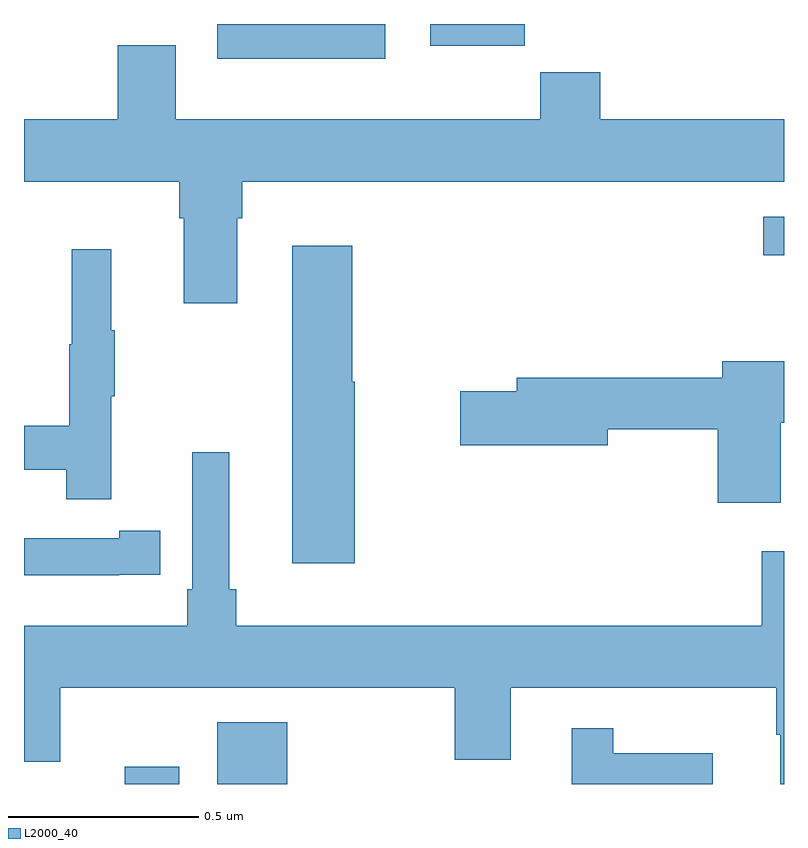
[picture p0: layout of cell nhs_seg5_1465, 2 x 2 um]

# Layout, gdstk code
import gdstk
lib = gdstk.Library(unit=1e-6, precision=1e-09)
def R(c, l, rs):  # rectangles x0, y0, x1, y1
    for r in rs: c.add(gdstk.rectangle(r[:2], r[2:], *l))
def P(c, l, *ps):  # polygons
    for p in ps: c.add(gdstk.Polygon(p, *l))
L2000_40 = (2000, 40)

nhs_seg5_1465 = lib.new_cell('nhs_seg5_1465')
R(nhs_seg5_1465, L2000_40, [(130.265,897.799,130.408,897.844), (130.508,897.799,130.693,897.961), (131.946,899.191,132,899.292), (130.508,899.708,130.951,899.799), (131.069,899.742,131.318,899.799)])
P(nhs_seg5_1465, L2000_40, [(130.561,899.288),(130.574,899.288),(130.574,899.384),(132,899.384),(132,899.548),(131.516,899.548),(131.516,899.672),(131.359,899.672),(131.359,899.548),(130.399,899.548),(130.399,899.743),(130.247,899.743),(130.247,899.548),(130,899.548),(130,899.384),(130.409,899.384),(130.409,899.288),(130.421,899.288),(130.421,899.064),(130.561,899.064)],
  [(130.87,898.857),(130.864,898.857),(130.864,899.215),(130.706,899.215),(130.706,898.38),(130.87,898.38)],
  [(130.229,898.819),(130.239,898.819),(130.239,898.993),(130.229,898.993),(130.229,899.206),(130.126,899.206),(130.126,898.956),(130.119,898.956),(130.119,898.742),(130,898.742),(130,898.626),(130.111,898.626),(130.111,898.548),(130.229,898.548)],
  [(131.992,898.75),(132,898.75),(132,898.912),(131.837,898.912),(131.837,898.868),(131.297,898.868),(131.297,898.832),(131.148,898.832),(131.148,898.69),(131.536,898.69),(131.536,898.732),(131.825,898.732),(131.825,898.539),(131.992,898.539)],
  [(130.25,898.35),(130.358,898.35),(130.358,898.466),(130.25,898.466),(130.25,898.446),(130,898.446),(130,898.349),(130.25,898.349)],
  [(130.443,898.672),(130.443,898.312),(130.43,898.312),(130.43,898.216),(130,898.216),(130,897.858),(130.096,897.858),(130.096,898.052),(131.134,898.052),(131.134,897.863),(131.281,897.863),(131.281,898.052),(131.979,898.052),(131.979,897.929),(131.99,897.929),(131.99,897.799),(132,897.799),(132,898.411),(131.942,898.411),(131.942,898.216),(130.559,898.216),(130.559,898.312),(130.54,898.312),(130.54,898.672)],
  [(131.812,897.88),(131.551,897.88),(131.551,897.946),(131.442,897.946),(131.442,897.799),(131.812,897.799)])

lib.write_gds('nhs_seg5_1465.gds')
